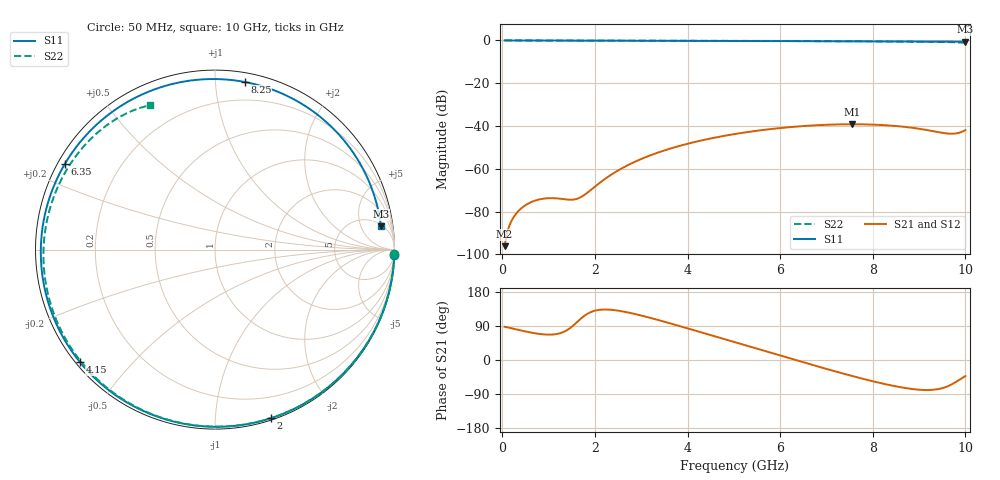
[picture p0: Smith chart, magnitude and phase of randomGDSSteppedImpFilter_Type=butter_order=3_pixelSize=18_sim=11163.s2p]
! freq	dB(S11)	phase(S11)	dB(S12)	phase(S12)
!  dB(S21)	phase(S21)	dB(S22)	phase(S22)
!S-par simulation data
#  GHz  S  DB  R 50
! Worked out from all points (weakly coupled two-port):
!   200 points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, 50 MHz to 10 GHz, reference 50 ohm
!   highest |S21| = -39.19 dB at 7.55 GHz (marker M1); lowest = -96.2 dB at 50 MHz (marker M2)
!   lowest |S11| = -0.6 dB at 10 GHz (marker M3), VSWR 29.19, Z = 288 + j579 ohm
!   |S11| at or under -10 dB: nowhere
!   |S22| runs from -1.1 to 0.0 dB; largest |S21 - S12| = 0
!   S11 on the Smith chart (normalised r, x): 50 MHz: 1, -61; 2 GHz: 0.02, -1.39; 4.15 GHz: 0.01, -0.36; 6.35 GHz: 0.02, +0.27; 8.25 GHz: 0.06, +1.19; 10 GHz: 6, +12
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0.05  -0.00 -1.9  -96.18 87.7  -96.18 87.7  -0.00 -1.3
0.35  -0.02 -12.9  -79.70 79.4  -79.70 79.4  -0.01 -9.3
0.55  -0.02 -20.3  -76.38 74.0  -76.38 74.0  -0.02 -14.5
0.85  -0.04 -31.2  -74.09 68.1  -74.09 68.1  -0.03 -22.4
1.5  -0.07 -54.3  -74.47 87.6  -74.47 87.6  -0.05 -39.1
1.75  -0.08 -63.0  -72.54 114.6  -72.54 114.6  -0.06 -45.4
2  -0.09 -71.5  -68.35 130.1  -68.35 130.1  -0.07 -51.7
2.65  -0.12 -93.1  -58.99 127.0  -58.99 127.0  -0.09 -67.6
3.4  -0.15 -117.0  -52.13 104.4  -52.13 104.4  -0.11 -85.2
4.15  -0.18 -140.2  -47.50 78.2  -47.50 78.2  -0.14 -102.3
5.05  -0.24 -167.9  -43.64 45.8  -43.64 45.8  -0.18 -122.0
5.7  -0.28 171.6  -41.67 22.4  -41.67 22.4  -0.22 -136.0
6.35  -0.33 150.2  -40.27 -0.8  -40.27 -0.8  -0.27 -149.9
6.7  -0.35 138.2  -39.75 -13.1  -39.75 -13.1  -0.30 -157.5
7.15  -0.39 122.2  -39.32 -28.7  -39.32 -28.7  -0.34 -167.4
7.55  -0.41 107.3  -39.19 -42.0  -39.19 -42.0  -0.38 -176.4
8.25  -0.46 80.0  -39.61 -63.2  -39.61 -63.2  -0.46 167.2
8.35  -0.47 76.0  -39.75 -65.9  -39.75 -65.9  -0.47 164.7
8.8  -0.49 57.6  -40.69 -75.7  -40.69 -75.7  -0.54 153.2
9.25  -0.52 38.9  -42.20 -79.0  -42.20 -79.0  -0.64 140.8
9.7  -0.56 20.2  -43.61 -64.6  -43.61 -64.6  -0.81 126.4
10  -0.60 7.9  -41.91 -42.3  -41.91 -42.3  -1.08 114.4
